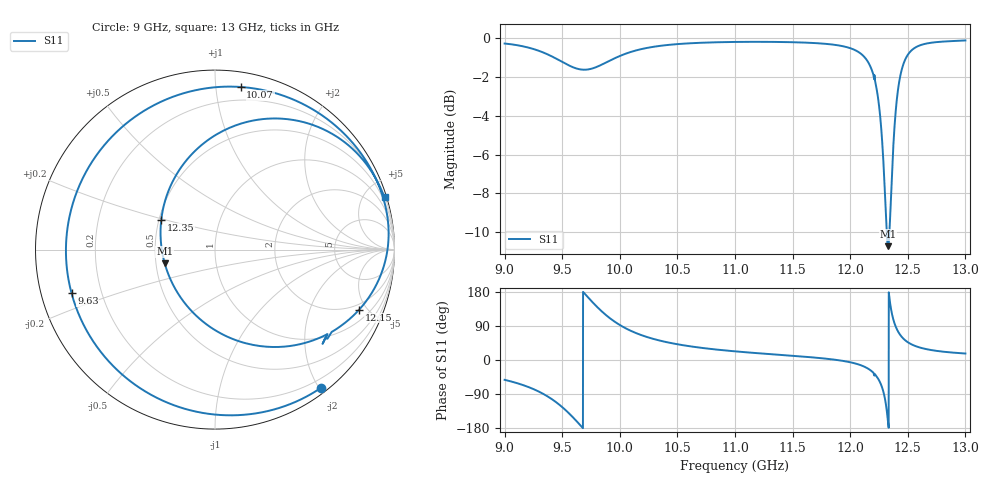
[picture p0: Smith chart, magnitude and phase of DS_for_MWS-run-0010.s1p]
! TOUCHSTONE file generated by CST DESIGN STUDIO
! Date and time: Wed Feb  5 13:35:27 2025
! Project name: C:\Work\MatlabApps\UnitCellOptimizationMatlab\CST\unitcell.cst
! Tree item: Tasks\Sweep1\SPara1\S-Parameters
! Header version: 2024
! Port assignment regex: !\s*Touchstone port\s*([0-9]+)\s*=\s*(CST MWS port|CST DES external port|CST DES block port)\s*(.+)\s* \(\"(.*)\"\)(\s*mode\s*([0-9]+))?.*
! Touchstone port assignment:
! Touchstone port 1 = CST DES external port 1 ("")
# GHz S MA R 50
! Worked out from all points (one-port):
!   4001 points, 9 GHz to 13 GHz, reference 50 ohm
!   lowest |S11| = -10.7 dB at 12.33 GHz (marker M1), VSWR 1.82, Z = 27.8 - j4.66 ohm
!   |S11| at or under -10 dB: 12.31681 GHz to 12.34067 GHz (23.86 MHz wide, 0.194 % of centre)
!   S11 on the Smith chart (normalised r, x): 9 GHz: 0.08, -2.03; 9.63 GHz: 0.09, -0.15; 10.07 GHz: 0.10, +1.17; 12.15 GHz: 1.61, -4.45; 12.35 GHz: 0.51, +0.19; 13 GHz: 0.26, +6.63
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9  0.9705 -52.4
9.167  0.9534 -66.9
9.32  0.9239 -86.9
9.417  0.8968 -104.7
9.5  0.87 -124.3
9.63  0.8354 -163.1
9.723  0.8316 165.6
9.829  0.8519 132.4
9.91  0.8756 111.2
10  0.9011 92.4
10.068  0.9173 81.0
10.26  0.9483 58.4
10.5  0.9672 41.5
11  0.9797 22.8
11.5  0.9781 11.1
12  0.944 -5.9
12.154  0.8703 -22.6
12.217  0.7739 -38.4
12.268  0.5924 -65.1
12.298  0.4191 -96.5
12.329  0.2905 -164.7
12.346  0.3418 151.2
12.377  0.5443 104.1
12.406  0.7007 80.7
12.451  0.8384 59.8
12.5  0.9074 46.9
12.659  0.9699 28.8
13  0.9883 17.1
